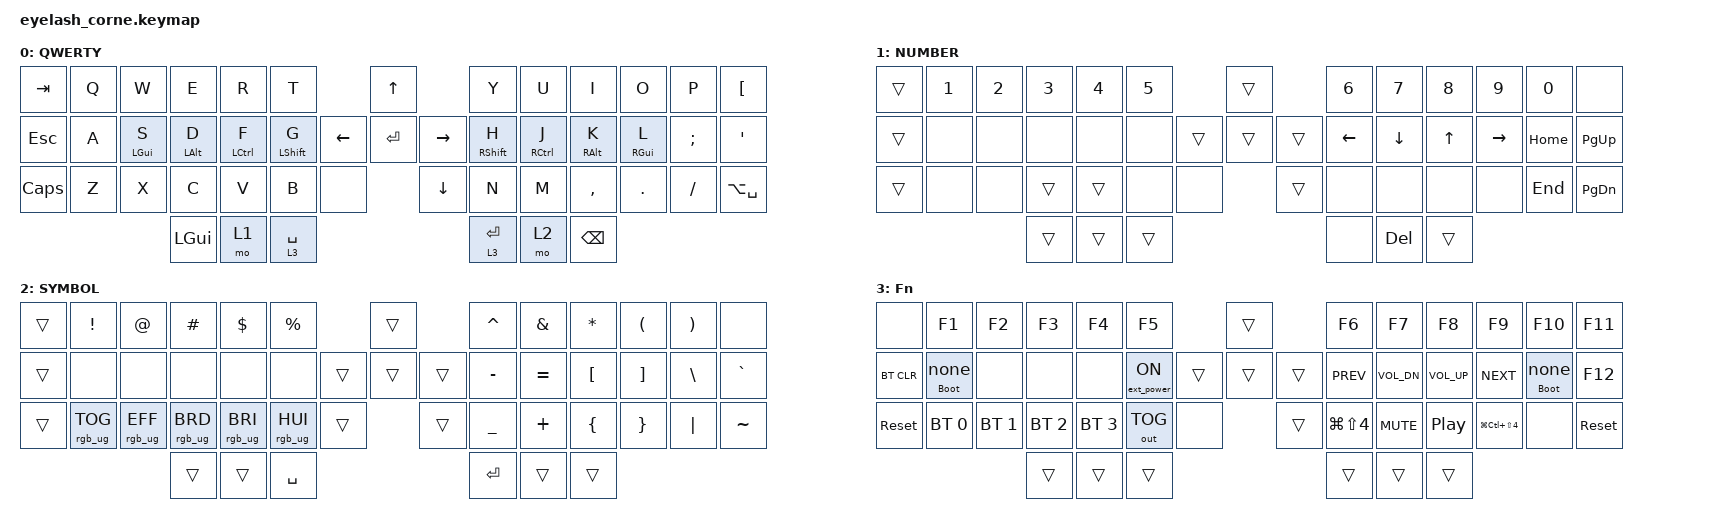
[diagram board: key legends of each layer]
#include <behaviors.dtsi>
#include <dt-bindings/zmk/bt.h>
#include <dt-bindings/zmk/ext_power.h>
#include <dt-bindings/zmk/keys.h>
#include <dt-bindings/zmk/outputs.h>
#include <dt-bindings/zmk/rgb.h>

/ {
    behaviors {
        // Bootloader only after holding the key for 3 s; a tap does nothing.
        boot_hold: boot_hold {
            compatible = "zmk,behavior-hold-tap";
            bindings = <&bootloader>, <&none>;

            #binding-cells = <2>;
            flavor = "tap-preferred";
            tapping-term-ms = <3000>;
        };

        // Home row mods: a mod only activates when the next key is on the
        // opposite hand (or a thumb); same-hand rolls always type letters.
        hml: hml {
            compatible = "zmk,behavior-hold-tap";
            bindings = <&kp>, <&kp>;

            #binding-cells = <2>;
            flavor = "balanced";
            tapping-term-ms = <280>;
            quick-tap-ms = <175>;
            require-prior-idle-ms = <150>;
            hold-trigger-key-positions = <6 7 8 9 10 11 12 19 20 21 22 23 24 25 26 27 35 36 37 38 39 40 41 42 43 44 45 46 47>;
            hold-trigger-on-release;
        };

        hmr: hmr {
            compatible = "zmk,behavior-hold-tap";
            bindings = <&kp>, <&kp>;

            #binding-cells = <2>;
            flavor = "balanced";
            tapping-term-ms = <280>;
            quick-tap-ms = <175>;
            require-prior-idle-ms = <150>;
            hold-trigger-key-positions = <0 1 2 3 4 5 13 14 15 16 17 18 28 29 30 31 32 33 42 43 44 45 46 47>;
            hold-trigger-on-release;
        };
    };

    keymap {
        compatible = "zmk,keymap";

        default_layer {
            display-name = "QWERTY";
            bindings = <
&kp TAB     &kp Q  &kp W           &kp E           &kp R               &kp T                                    &kp UP                &kp Y              &kp U                &kp I            &kp O            &kp P     &kp LEFT_BRACKET
&kp ESCAPE  &kp A  &hml LEFT_GUI S  &hml LEFT_ALT D  &hml LEFT_CONTROL F  &hml LEFT_SHIFT G               &kp LEFT  &kp ENTER  &kp RIGHT  &hmr RIGHT_SHIFT H  &hmr RIGHT_CONTROL J  &hmr RIGHT_ALT K  &hmr RIGHT_GUI L  &kp SEMI  &kp SQT
&kp CAPS    &kp Z  &kp X           &kp C           &kp V               &kp B             &none                  &kp DOWN              &kp N              &kp M                &kp COMMA        &kp DOT          &kp FSLH  &kp LA(SPACE)
                                   &kp LGUI        &mo 1               &lt 3 SPACE                                                    &lt 3 ENTER        &mo 2                &kp BSPC
            >;
        };

        lower_layer {
            display-name = "NUMBER";
            bindings = <
&trans  &kp N1           &kp N2          &kp N3        &kp N4        &kp N5                                         &trans                           &kp N6           &kp N7           &kp N8           &kp N9           &kp N0    &none
&trans  &none            &none           &none         &none         &none                          &trans          &trans          &trans           &kp LEFT         &kp DOWN         &kp UP           &kp RIGHT        &kp HOME  &kp PG_UP
&trans  &none            &none           &trans        &trans        &none            &none                         &trans                           &none            &none            &none            &none            &kp END   &kp PG_DN
                                         &trans        &trans        &trans                                                                          &none            &kp DEL          &trans
            >;
        };

        raise_layer {
            display-name = "SYMBOL";
            bindings = <
&trans  &kp EXCL      &kp AT        &kp HASH   &kp DLLR   &kp PRCNT                            &trans                           &kp CARET  &kp AMPS   &kp ASTRK  &kp LPAR  &kp RPAR  &none
&trans  &none         &none         &none      &none      &none                &trans          &trans          &trans           &kp MINUS  &kp EQUAL  &kp LBKT   &kp RBKT  &kp BSLH  &kp GRAVE
&trans  &rgb_ug RGB_TOG &rgb_ug RGB_EFF &rgb_ug RGB_BRD &rgb_ug RGB_BRI &rgb_ug RGB_HUI &trans  &trans                           &kp UNDER  &kp PLUS   &kp LBRC   &kp RBRC  &kp PIPE  &kp TILDE
                                    &trans     &trans     &kp SPACE                                                             &kp RET    &trans     &trans
            >;
        };

        layer_3 {
            display-name = "Fn";
            bindings = <
&none           &kp F1      &kp F2     &kp F3       &kp F4     &kp F5                                  &trans                           &kp F6       &kp F7     &kp F8       &kp F9      &kp F10          &kp F11
&bt BT_CLR      &boot_hold 0 0 &none      &none        &none      &ext_power EP_ON        &trans          &trans          &trans           &kp C_PREV     &kp C_VOL_DN &kp C_VOL_UP   &kp C_NEXT  &boot_hold 0 0   &kp F12
&sys_reset      &bt BT_SEL 0 &bt BT_SEL 1 &bt BT_SEL 2 &bt BT_SEL 3 &out OUT_TOG &none                &trans                           &kp LG(LS(N4))     &kp C_MUTE &kp C_PP     &kp LG(LC(LS(N4))) &none            &sys_reset
                                       &trans       &trans     &trans                                                                   &trans       &trans     &trans
            >;
        };
    };
};
